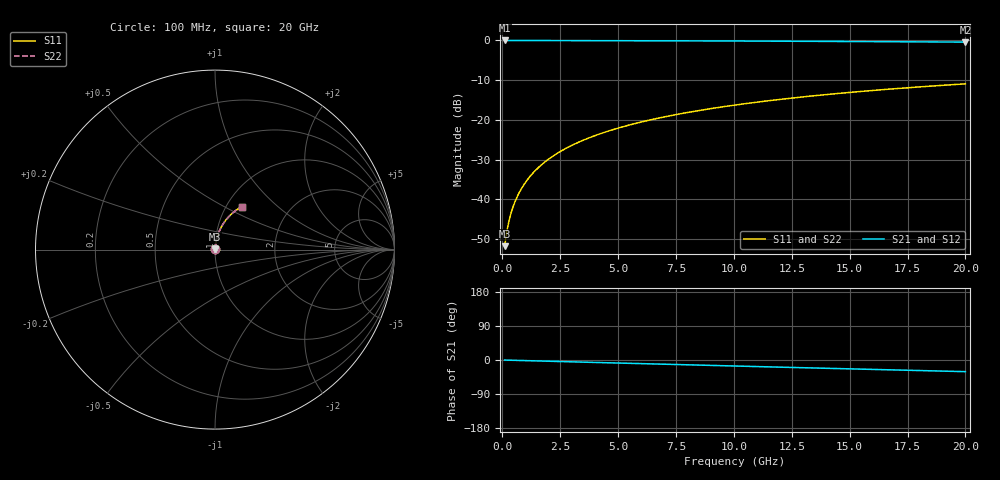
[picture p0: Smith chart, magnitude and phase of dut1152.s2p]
! Touchstone file exported from HFSS 2026.1.0
!  File:  C:/ffzhzh/LocalFiles/Ansys_Project_Files/temp_train_BSMRDL_1152_1783175643_43440.aedt
!  Generated:  10:35:17 PM Jul  4, 2026
!  Design:  BSMRDL
!  Project:  temp_train_BSMRDL_1152_1783175643_43440
! Variables:
!  h_bsmrdl = 3.33um
!  h_ox = 20um
!  h_rdl = 5um
!  h_sub = 80um
!  h_tmrdl = 5um
!  h_tsv = 80um
!  h_via = 3um
!  l_bsmrdl = 422.68um
!  l_sub = 822.68um
!  l_tmrdl = 200um
!  m_sub = 200um
!  pitch = 55.73um
!  r_tsv = 6um
!  s_tmrdl = 10um
!  w_bsmrdl = 28.15um
!  w_sub = 500um
!  w_tmrdl = 12um
!  x_tsv_center1 = 206um
!  x_tsv_center2 = 656.83um
!  x_tsv_center3 = 868.83um
!  x_tsv_center4 = 1319.66um
!  x_tsv_center5 = 1531.66um
!  x_tsv_center6 = 1982.49um
# GHz S MA R 50.000000
! Terminal data exported
! Port[1] = BSM_RDL1_1_T1
! Port[2] = BSM_RDL1_1_T2
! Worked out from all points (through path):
!   200 points, 100 MHz to 20 GHz, reference 50 ohm
!   highest |S21| = -0.02 dB at 100 MHz (marker M1); lowest = -0.4 dB at 20 GHz (marker M2)
!   group delay of S21, straight-line fit = 4.27 ps
!   lowest |S11| = -51.8 dB at 100 MHz (marker M3), VSWR 1.01, Z = 50.2 + j0.177 ohm
!   |S11| at or under -10 dB: start of sweep to end of sweep
!   |S22| runs from -51.8 to -10.9 dB; largest |S21 - S12| = 2.7e-15
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0.1  0.002566 43.3  0.9981 -0.2  0.9981 -0.2  0.002566 43.3
! Gamma 0 0 0 0
! Port Impedance 50 0 50 0
0.2  0.00399 60.0  0.998 -0.3  0.998 -0.3  0.00399 60.0
0.3  0.005514 67.2  0.9979 -0.5  0.9979 -0.5  0.005514 67.2
0.4  0.007043 71.2  0.9978 -0.7  0.9978 -0.7  0.007043 71.2
0.5  0.008572 73.8  0.9977 -0.8  0.9977 -0.8  0.008572 73.8
0.6  0.01011 75.7  0.9976 -1.0  0.9976 -1.0  0.01011 75.7
0.8  0.01319 78.2  0.9975 -1.3  0.9975 -1.3  0.01319 78.2
1.1  0.01786 80.2  0.9974 -1.8  0.9974 -1.8  0.01786 80.2
1.5  0.02412 81.5  0.9972 -2.4  0.9972 -2.4  0.02412 81.5
1.8  0.02883 81.9  0.997 -2.9  0.997 -2.9  0.02883 81.9
2.1  0.03354 82.0  0.9968 -3.4  0.9968 -3.4  0.03354 82.0
2.7  0.04296 81.9  0.9962 -4.4  0.9962 -4.4  0.04296 81.9
3.5  0.05546 81.2  0.9954 -5.6  0.9954 -5.6  0.05546 81.2
4.2  0.06632 80.4  0.9945 -6.8  0.9945 -6.8  0.06632 80.4
5  0.07863 79.3  0.9933 -8.0  0.9933 -8.0  0.07863 79.4
5.9  0.09235 78.1  0.9918 -9.5  0.9918 -9.5  0.09234 78.1
6.8  0.1059 76.8  0.9901 -10.9  0.9901 -10.9  0.1059 76.8
8.3  0.1281 74.6  0.9869 -13.2  0.9869 -13.2  0.1281 74.6
10.1  0.1542 72.0  0.9826 -16.0  0.9826 -16.0  0.1542 72.0
13.4  0.2 67.2  0.9735 -21.0  0.9735 -21.0  0.2 67.2
16.7  0.2433 62.4  0.963 -25.9  0.963 -25.9  0.2433 62.4
20  0.2836 57.7  0.9514 -30.8  0.9514 -30.8  0.2836 57.7
